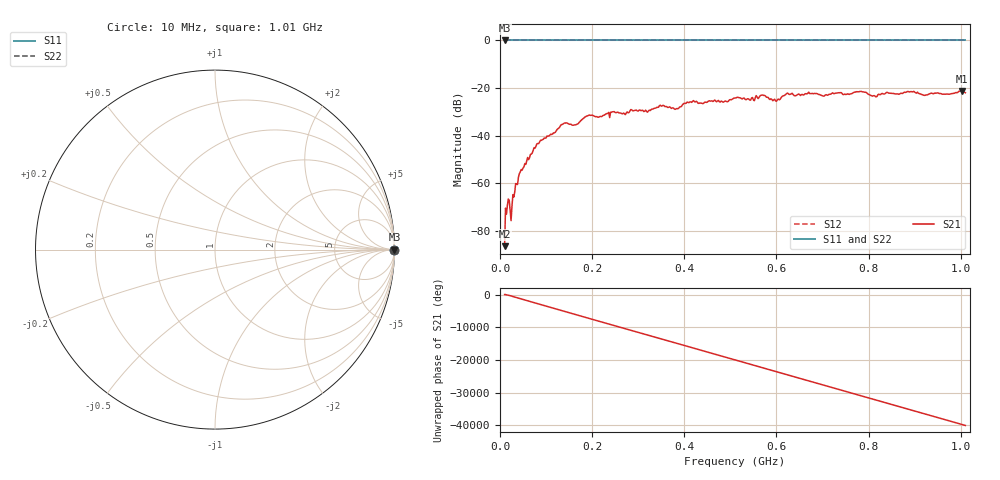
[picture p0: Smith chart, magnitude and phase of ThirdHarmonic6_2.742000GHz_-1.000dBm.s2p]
! 8/17/2025 6:48:40 AM
! C:\ANRITSUVNA\TEMP\TEMP.S2P
! CHANNEL.1
! TR.MEASUREMENT
! RAW.DATA
! RF.CORRECTION.OFF
! AVERAGING.OFF
! IF.BANDWIDTH: 5KHZ
! SWEEPTYPE:  FREQ.SWEEP(Linear)
! Reference Plane Port Info
! PORT:  PORT1  PORT2
! DISTANCE:  0  m  0  m
! TIME:  0  s  0  s
! PHASE.OFFSET:  0  deg.  0  deg.
! LOSS:  0  dB  0  dB
! REF.LOSS:  0  dB  0  dB
! REF.FREQ:  0  Hz  0  Hz
! Power Info
! POWER:  -20  dBm  -20  dBm
! EFF.POWER:  -20  dBm  -20  dBm
! SOURCE.ATTEN:  0  dB  0  dB
! TEST.ATTEN:  0  dB  0  dB
# GHZ S RI R 50.0
! FREQ.GHZ  S11RE  S11IM  S21RE  S21IM  S12RE  S12IM  S22RE  S22IM
!; PortSelection: Port_12
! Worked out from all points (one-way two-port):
!   501 points, 10 MHz to 1.01 GHz, reference 50 ohm
!   highest |S21| = -21.24 dB at 1.002 GHz (marker M1); lowest = -86.6 dB at 10 MHz (marker M2)
!   lowest |S11| = 0.0 dB at 10 MHz (marker M3)
!   |S11| at or under -10 dB: nowhere
!   |S22| runs from 0.0 to 0.0 dB; largest |S21 - S12| = 1.1
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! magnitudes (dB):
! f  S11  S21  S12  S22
! 10 MHz  0.0  -86.6  0.0  0.0
! 16 MHz  0.0  -69.4  0.0  0.0
! 26 MHz  0.0  -69.8  0.0  0.0
! 32 MHz  0.0  -63.7  0.0  0.0
! 44 MHz  0.0  -55.3  0.0  0.0
! 78 MHz  0.0  -44.5  0.0  0.0
! 136 MHz  0.0  -35.3  0.0  0.0
! 162 MHz  0.0  -35.5  0.0  0.0
! 178 MHz  0.0  -33.3  0.0  0.0
! 344 MHz  0.0  -28.1  0.0  0.0
! 382 MHz  0.0  -28.8  0.0  0.0
! 416 MHz  0.0  -26.1  0.0  0.0
! 510 MHz  0.0  -24.2  0.0  0.0
! 570 MHz  0.0  -22.9  0.0  0.0
! 596 MHz  0.0  -24.7  0.0  0.0
! 622 MHz  0.0  -22.4  0.0  0.0
! 678 MHz  0.0  -22.3  0.0  0.0
! 784 MHz  0.0  -21.4  0.0  0.0
! 814 MHz  0.0  -23.5  0.0  0.0
! 844 MHz  0.0  -22.2  0.0  0.0
! 1.002 GHz  0.0  -21.2  0.0  0.0
! 1.01 GHz  0.0  -22.0  0.0  0.0
